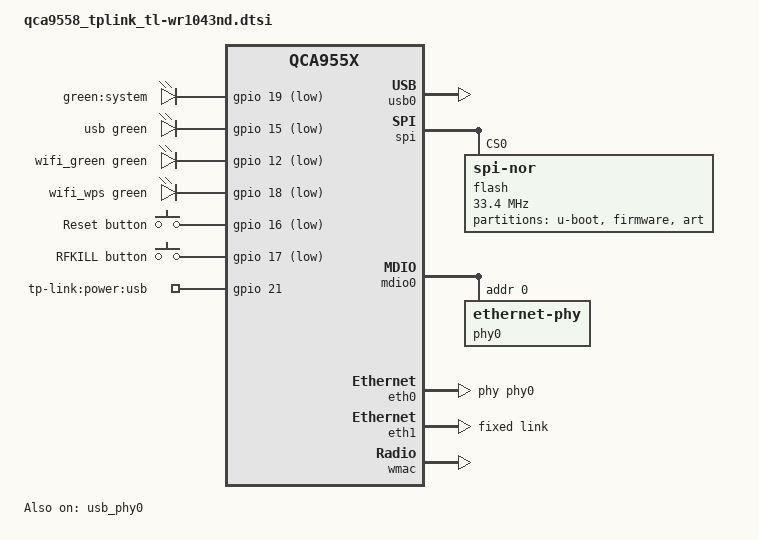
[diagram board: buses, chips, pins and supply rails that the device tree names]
// SPDX-License-Identifier: GPL-2.0-or-later OR MIT

#include "qca955x.dtsi"

#include <dt-bindings/gpio/gpio.h>
#include <dt-bindings/input/input.h>
#include <dt-bindings/leds/common.h>

/ {
	aliases {
		led-boot = &led_system;
		led-failsafe = &led_system;
		led-running = &led_system;
		led-upgrade = &led_system;
		label-mac-device = &wmac;
	};

	leds {
		compatible = "gpio-leds";

		led_system: system {
			label = "green:system";
			gpios = <&gpio 19 GPIO_ACTIVE_LOW>;
			linux,default-trigger = "heartbeat";
		};

		usb {
			function = LED_FUNCTION_USB;
			color = <LED_COLOR_ID_GREEN>;
			gpios = <&gpio 15 GPIO_ACTIVE_LOW>;
			trigger-sources = <&hub_port0>;
			linux,default-trigger = "usbport";
		};

		wifi_green {
			function = LED_FUNCTION_WLAN;
			color = <LED_COLOR_ID_GREEN>;
			gpios = <&gpio 12 GPIO_ACTIVE_LOW>;
			linux,default-trigger = "phy0tpt";
		};

		wifi_wps {
			function = LED_FUNCTION_WPS;
			color = <LED_COLOR_ID_GREEN>;
			gpios = <&gpio 18 GPIO_ACTIVE_LOW>;
		};
	};

	keys {
		compatible = "gpio-keys";

		reset {
			label = "Reset button";
			linux,code = <KEY_RESTART>;
			gpios = <&gpio 16 GPIO_ACTIVE_LOW>;
			debounce-interval = <60>;
		};

		wifi {
			label = "RFKILL button";
			linux,code = <KEY_RFKILL>;
			gpios = <&gpio 17 GPIO_ACTIVE_LOW>;
			debounce-interval = <60>;
		};
	};

	gpio-export {
		compatible = "gpio-export";
		#size-cells = <0>;

		gpio_usb_power {
			gpio-export,name = "tp-link:power:usb";
			gpio-export,output = <1>;
			gpios = <&gpio 21 GPIO_ACTIVE_HIGH>;
		};
	};
};

&usb_phy0 {
	status = "okay";
};

&usb0 {
	status = "okay";
};

&spi {
	status = "okay";

	flash@0 {
		compatible = "jedec,spi-nor";
		reg = <0>;
		spi-max-frequency = <33400000>;

		partitions {
			compatible = "fixed-partitions";
			#address-cells = <1>;
			#size-cells = <1>;

			uboot: partition@0 {
				label = "u-boot";
				reg = <0x000000 0x020000>;
				read-only;

				nvmem-layout {
					compatible = "fixed-layout";
					#address-cells = <1>;
					#size-cells = <1>;

					macaddr_uboot_1fc00: macaddr@1fc00 {
						compatible = "mac-base";
						reg = <0x1fc00 0x6>;
						#nvmem-cell-cells = <1>;
					};
				};
			};

			partition@20000 {
				compatible = "tplink,firmware";
				label = "firmware";
				reg = <0x020000 0x7d0000>;
			};

			partition@7f0000 {
				label = "art";
				reg = <0x7f0000 0x010000>;
				read-only;

				nvmem-layout {
					compatible = "fixed-layout";
					#address-cells = <1>;
					#size-cells = <1>;

					cal_art_1000: calibration@1000 {
						reg = <0x1000 0x440>;
					};
				};
			};
		};
	};
};

&mdio0 {
	status = "okay";

	phy0: ethernet-phy@0 {
		reg = <0>;
		qca,ar8327-initvals = <
			0x04 0x00080080 /* PORT0 PAD MODE CTRL */
			0x0c 0x07600000 /* PORT6 PAD MODE CTRL */
			0x10 0x81000080 /* POWER_ON_STRAP */
			0x50 0xcc35cc35 /* LED_CTRL0 */
			0x54 0xca35ca35 /* LED_CTRL1 */
			0x58 0xc935c935 /* LED_CTRL2 */
			0x5c 0x03ffff00 /* LED_CTRL3 */
			0x7c 0x0000007e /* PORT0_STATUS */
			0x94 0x0000007e /* PORT6 STATUS */
		>;
	};
};

&eth0 {
	status = "okay";

	pll-data = <0x56000000 0x00000101 0x00001616>;

	nvmem-cells = <&macaddr_uboot_1fc00 1>;
	nvmem-cell-names = "mac-address";
	phy-handle = <&phy0>;
};

&eth1 {
	status = "okay";

	pll-data = <0x03000101 0x00000101 0x00001616>;

	nvmem-cells = <&macaddr_uboot_1fc00 0>;
	nvmem-cell-names = "mac-address";

	fixed-link {
		speed = <1000>;
		full-duplex;
	};
};

&wmac {
	status = "okay";

	nvmem-cells = <&macaddr_uboot_1fc00 0>, <&cal_art_1000>;
	nvmem-cell-names = "mac-address", "calibration";
};
